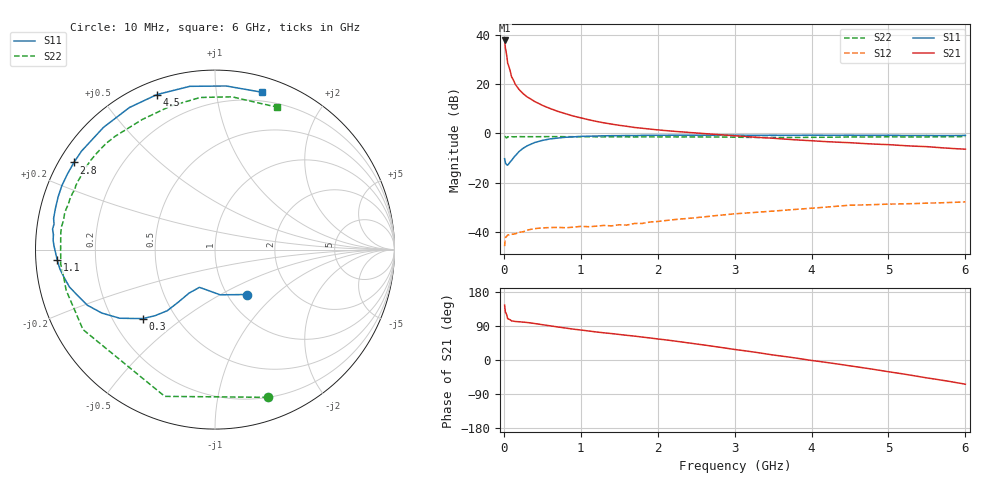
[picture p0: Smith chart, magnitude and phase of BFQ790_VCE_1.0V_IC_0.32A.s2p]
! Infineon Technologies  Discrete & RF Semiconductors
! BFQ790
! VCE =  1.0 V,  IC = 0.32 A
! Common Emitter S-Parameters:  May 2015
# GHz  S  MA  R  50
!  f  S11  S21  S12  S22
! GHz  MAG  ANG  MAG  ANG  MAG  ANG  MAG  ANG
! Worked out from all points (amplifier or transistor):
!   77 points, 10 MHz to 6 GHz, reference 50 ohm
!   highest |S21| = 37.9 dB at 10 MHz (marker M1)
!   |S21| within 3 dB of that: start of sweep to 20.29 MHz
!   unconditionally stable (mu >= 1): 130 MHz to end of sweep
!   at 130 MHz: K = 1.00, MAG = 31.1 dB, |S12| = -40.9 dB
!   at 2.2 GHz: K = 1.45, MAG = 14.0 dB, |S12| = -35.1 dB
!   at 6 GHz: K = 1.26, MAG = 7.7 dB, |S12| = -27.8 dB
!   S11 on the Smith chart (normalised r, x): 10 MHz: 1.23, -0.68; 300 MHz: 0.33, -0.36; 1.1 GHz: 0.06, -0.03; 2.8 GHz: 0.04, +0.28; 4.5 GHz: 0.06, +0.69; 6 GHz: 0.12, +1.34
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0.01  0.307 -54.6  78.11 144.9  0.0051 53.5  0.8743 -70.3
0.02  0.2536 -83.4  55.62 126.5  0.0076 36.4  0.8643 -108.9
0.05  0.2274 -112.4  26.94 108.8  0.0086 20.6  0.8599 -148.8
0.1  0.2831 -120.9  14.3 103.1  0.0089 12.4  0.8596 -164.7
0.15  0.3545 -124.8  9.944 101.6  0.0091 16.4  0.8573 -171.4
0.2  0.4324 -128.0  7.787 100.9  0.0098 18.3  0.8638 -174.7
0.25  0.4985 -132.3  6.489 100.0  0.01 15.4  0.8605 -177.2
0.3  0.5573 -136.4  5.587 99.0  0.0108 12.5  0.8603 -179.2
0.4  0.6538 -144.2  4.474 96.2  0.0116 13.3  0.8605 177.8
0.5  0.7227 -150.7  3.742 93.2  0.012 10.2  0.8623 175.5
0.6  0.7751 -156.4  3.229 90.2  0.0122 12.5  0.8646 173.4
0.8  0.8373 -165.6  2.53 84.4  0.0121 12.9  0.8609 169.8
0.9  0.8551 -169.6  2.271 81.5  0.0124 11.0  0.86 168.3
1.1  0.8806 -176.1  1.91 76.6  0.0127 15.2  0.8601 165.0
1.5  0.904 174.7  1.467 67.4  0.0139 18.0  0.8546 159.5
2.1  0.9196 163.4  1.147 53.2  0.0169 19.5  0.8521 150.4
2.8  0.9239 148.3  0.947 33.8  0.0217 12.8  0.8476 135.8
3.1  0.921 141.4  0.877 25.2  0.0238 8.9  0.8363 129.0
4.1  0.9213 119.0  0.696 -3.8  0.031 -7.8  0.8368 105.1
4.5  0.9223 110.5  0.65 -15.5  0.0348 -15.6  0.8516 95.6
5.1  0.9155 96.3  0.58 -34.0  0.0368 -29.6  0.8535 81.6
6  0.9151 73.3  0.48 -63.9  0.0406 -51.3  0.8659 66.6
